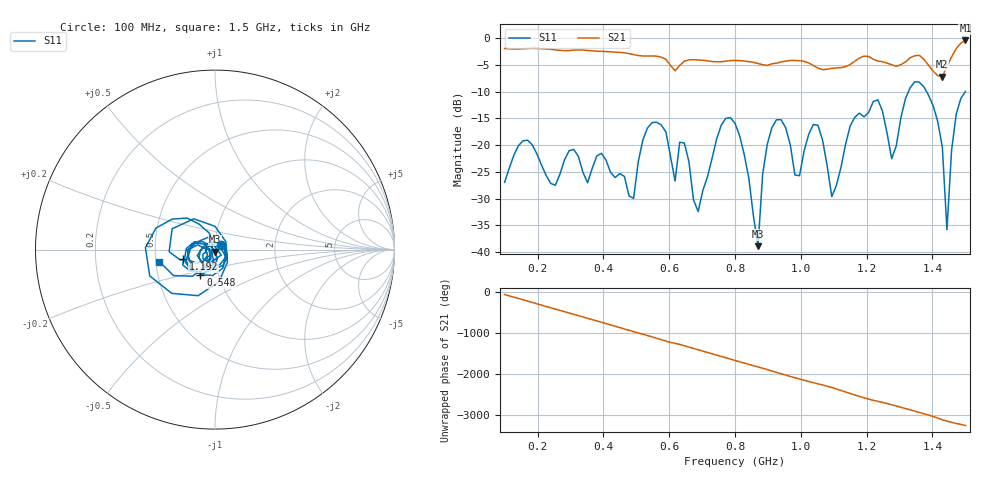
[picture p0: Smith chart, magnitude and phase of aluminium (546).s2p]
! NanoVNA-App
! Date: 2025-09-25 14:59:32
! Start: 100MHz Stop: 1,5GHz Points: 101
! S-Parameter data: F S11 S21 S12 S22
# Hz S RI R 50
!  Frequency  S11_Real  S11_Imag  S21_Real  S21_Imag  S12_Real  S12_Imag  S22_Real  S22_Imag
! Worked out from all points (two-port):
!   101 points, 100 MHz to 1.5 GHz, reference 50 ohm
!   highest |S21| = -0.42 dB at 1.5 GHz (marker M1); lowest = -7.2 dB at 1.43 GHz (marker M2)
!   |S21| within 3 dB of the highest: start of sweep to 567.2 MHz; 1.459 GHz to end of sweep (the widest 2 of 4)
!   lowest |S11| = -38.9 dB at 870 MHz (marker M3), VSWR 1.02, Z = 50.1 - j1.13 ohm
!   |S11| at or under -10 dB: start of sweep to 1.327 GHz; 1.382 GHz to 1.5 GHz (117.7 MHz wide, 8.17 % of centre)
!   S12 and S22 are empty: the file has one direction only
!   S11 on the Smith chart (normalised r, x): 100 MHz: 1.07, +0.06; 548 MHz: 0.82, -0.24; 1.192 GHz: 0.70, -0.08; 1.5 GHz: 0.52, -0.08
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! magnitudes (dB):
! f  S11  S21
! 100 MHz  -27.0  -1.9
! 156 MHz  -19.2  -2.0
! 338 MHz  -25.1  -2.2
! 492 MHz  -29.9  -3.1
! 548 MHz  -15.8  -3.3
! 576 MHz  -16.2  -3.5
! 646 MHz  -19.6  -4.3
! 688 MHz  -32.4  -4.1
! 800 MHz  -15.9  -4.1
! 870 MHz  -38.9  -4.7
! 912 MHz  -16.7  -4.8
! 996 MHz  -25.7  -4.2
! 1.038 GHz  -16.2  -5.1
! 1.094 GHz  -29.6  -5.6
! 1.192 GHz  -14.7  -3.4
! 1.234 GHz  -11.5  -4.3
! 1.276 GHz  -22.5  -5.0
! 1.346 GHz  -8.1  -3.3
! 1.43 GHz  -20.4  -7.2
! 1.444 GHz  -35.8  -5.3
! 1.472 GHz  -14.3  -2.0
! 1.5 GHz  -10.0  -0.4
